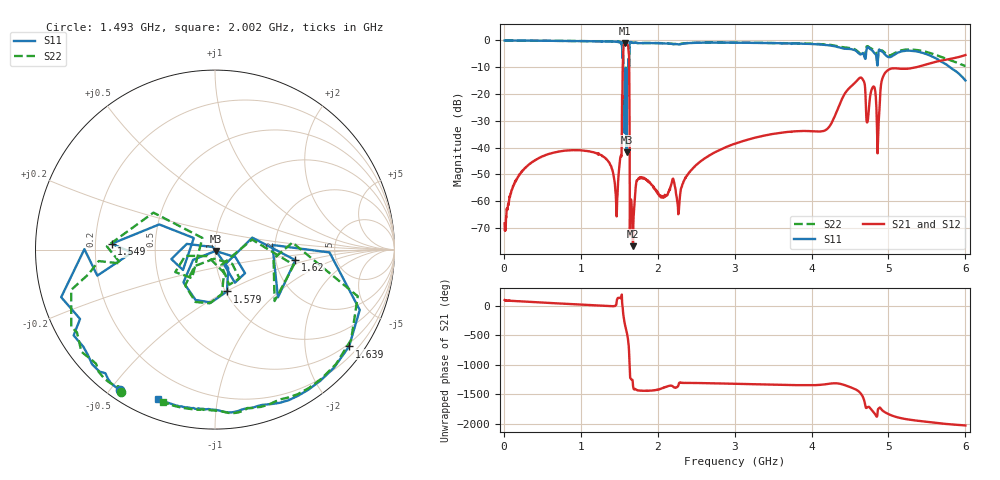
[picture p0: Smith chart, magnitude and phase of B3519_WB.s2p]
! Matrix data file written by TouchstoneData, EPCOS AG
! FILENAME: "newformat_B3519.WB.2.s2p"
! COMMENT: "(B3519.WB.2.s2p)"
! INFO: nport=2, nfreq=1601
! DATE: "Mon Sep  5 10:31:09 2011"
! USER: "Sergey Rostovtsev"
! port | pin | signal
!  1  |  2  |  in
!  2  |  5  |  out
# MHZ S MA R 50
! freq  magS11 angS11  magS21 angS21  magS12 angS12  magS22 angS22
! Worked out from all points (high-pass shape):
!   1601 points, 10 MHz to 6 GHz, reference 50 ohm
!   highest |S21| = -0.98 dB at 1.571 GHz (marker M1); lowest = -76.8 dB at 1.68 GHz (marker M2)
!   |S21| within 3 dB of the highest: 1.554 GHz to 1.622 GHz (68.35 MHz wide, 4.31 % of centre)
!   lowest |S11| = -41.7 dB at 1.597 GHz (marker M3), VSWR 1.02, Z = 50.3 - j0.769 ohm
!   |S11| at or under -10 dB: 1.553 GHz to 1.618 GHz (65.25 MHz wide, 4.12 % of centre); 5.801 GHz to end of sweep
!   |S22| runs from -25.8 to 0.0 dB; largest |S21 - S12| = 0.0014
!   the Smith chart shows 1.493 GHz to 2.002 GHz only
!   S11 on the Smith chart (normalised r, x): 1.493 GHz: 0.04, -0.53; 1.549 GHz: 0.27, +0.03; 1.579 GHz: 1.02, -0.50; 1.62 GHz: 2.58, -0.38; 1.639 GHz: 0.43, -3.04; 2.002 GHz: 0.09, -0.69
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10  0.9993 -0.7  0.0003851 95.8  0.0003642 94.2  1 -0.7
298.2688  0.994 -22.2  0.004457 67.6  0.004457 67.7  0.9945 -22.5
1009.581  0.9729 -72.0  0.008891 18.7  0.00889 18.7  0.9751 -72.2
1492.525  0.9441 -124.0  0.003258 132.7  0.003258 132.2  0.9512 -123.3
1548.681  0.5772 176.8  0.4571 -98.8  0.4575 -98.9  0.6029 178.3
1571.144  0.01868 130.6  0.8934 60.1  0.8942 60.2  0.05486 -138.4
1578.631  0.2426 -74.0  0.8638 15.2  0.8648 15.2  0.2501 -81.1
1597.35  0.008223 -68.4  0.8617 -87.8  0.8625 -87.8  0.05124 -95.6
1619.812  0.4515 -7.5  0.6693 85.8  0.6699 85.8  0.4475 -11.0
1638.531  0.9215 -35.8  0.0002308 -79.3  0.0002491 -79.4  0.9096 -33.5
1664.737  0.9174 -69.6  0.0006229 -172.2  0.0006439 -173.1  0.9101 -68.1
1679.713  0.9048 -76.0  0.0001449 80.7  0.0001528 85.4  0.9084 -75.4
1754.588  0.8901 -91.8  0.002651 6.2  0.002644 6.3  0.8961 -91.0
2001.675  0.8906 -110.8  0.001432 19.3  0.001426 19.5  0.8948 -108.7
2009.162  0.8907 -111.2  0.001366 20.5  0.001371 20.4  0.8956 -109.1
2267.481  0.8474 -121.6  0.0005712 85.9  0.0005572 85.3  0.8522 -119.0
3005  0.9102 -148.8  0.01184 118.6  0.01185 118.6  0.915 -144.0
4004.581  0.8579 173.0  0.02027 94.5  0.02025 94.4  0.8677 -178.4
4629.788  0.5517 150.2  0.2018 -30.8  0.2019 -30.8  0.5734 159.0
4865.644  0.517 174.0  0.01809 51.4  0.01815 51.4  0.5426 177.9
5004.163  0.489 148.4  0.2862 -36.7  0.2864 -36.8  0.5286 156.9
6000  0.1793 91.7  0.5342 133.5  0.5346 133.5  0.3329 117.0
